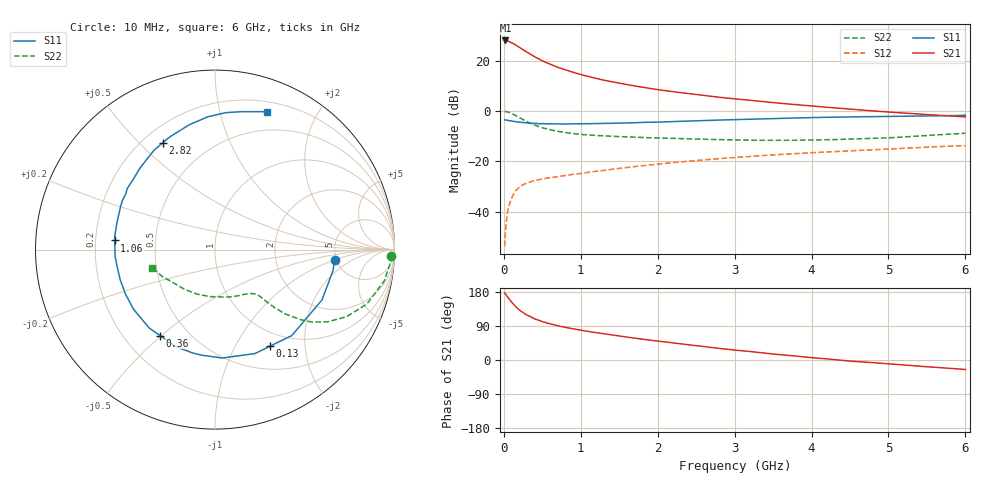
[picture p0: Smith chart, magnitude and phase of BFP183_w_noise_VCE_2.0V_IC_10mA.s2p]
! Infineon Technologies  Discrete & RF Semiconductors
! BFP183
! VCE = 2.0 V,  IC =  10 mA
! Common Emitter S-Parameters:  Jan 2016
# GHz  S  MA  R  50
!  f  S11  S21  S12  S22
! GHz  MAG  ANG  MAG  ANG  MAG  ANG  MAG  ANG
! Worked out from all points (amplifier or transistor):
!   210 points, 10 MHz to 6 GHz, reference 50 ohm
!   highest |S21| = 28.0 dB at 20 MHz (marker M1)
!   |S21| within 3 dB of that: start of sweep to 216.2 MHz
!   unconditionally stable (mu >= 1): 1.131 GHz to 5.72 GHz
!   at 185 MHz: K = 0.26, MSG = 28.1 dB, |S12| = -30.7 dB
!   at 1.52 GHz: K = 1.11, MAG = 14.8 dB, |S12| = -22.6 dB
!   at 6 GHz: K = 0.95, MSG = 5.7 dB, |S12| = -13.7 dB
!   lowest NFmin = 1.30 dB at 450 MHz
!   S11 on the Smith chart (normalised r, x): 10 MHz: 4.81, -1.04; 130 MHz: 0.80, -1.39; 360 MHz: 0.35, -0.49; 1.06 GHz: 0.28, +0.04; 2.82 GHz: 0.28, +0.59; 6 GHz: 0.30, +1.40
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0.01  0.6691 -5.1  24.86 177.2  0.0021 81.6  0.9839 -2.0
0.02  0.6676 -10.3  25 174.6  0.0038 83.0  0.9805 -4.2
0.05  0.6588 -25.2  24.55 165.7  0.0104 81.0  0.9594 -10.4
0.065  0.6429 -31.9  23.83 162.0  0.0128 75.3  0.9388 -13.1
0.1  0.6422 -48.2  22.59 152.7  0.0188 68.0  0.8991 -19.7
0.13  0.6193 -60.5  21.28 146.1  0.023 63.3  0.8511 -24.0
0.15  0.6206 -69.0  20.57 141.3  0.0259 61.1  0.822 -27.1
0.2  0.6053 -86.2  18.4 132.1  0.0308 55.0  0.7448 -32.7
0.3  0.5836 -111.6  14.68 118.5  0.0376 47.2  0.6163 -39.3
0.36  0.5684 -122.6  12.96 113.0  0.0401 45.0  0.5622 -41.2
0.4  0.5702 -130.0  11.9 108.4  0.0418 43.7  0.5265 -42.6
0.5  0.5626 -143.9  9.858 101.2  0.0451 41.2  0.4659 -44.2
0.6  0.5567 -153.9  8.492 95.4  0.0477 41.1  0.425 -45.0
1.02  0.5591 177.0  5.177 77.9  0.0584 42.2  0.3425 -47.1
1.06  0.5608 174.8  4.998 76.6  0.0599 42.1  0.3386 -47.4
1.5  0.5775 156.0  3.555 63.0  0.0731 43.4  0.3109 -51.9
2.02  0.604 137.6  2.626 49.4  0.0893 42.6  0.2927 -60.1
2.82  0.663 116.1  1.858 30.1  0.1145 39.0  0.2713 -77.9
3.1  0.6811 109.8  1.68 24.4  0.1231 37.4  0.2643 -85.3
4.1  0.7449 91.5  1.222 4.6  0.1518 30.5  0.2679 -114.7
5.1  0.7844 78.4  0.931 -11.6  0.1791 24.1  0.2999 -143.0
6  0.8207 69.3  0.765 -25.0  0.2064 16.1  0.363 -163.8
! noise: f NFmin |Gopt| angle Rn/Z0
0.45  1.3  0.15  45  0.18
0.9  1.4  0.2  125  0.19
1.8  2.1  0.34  -170  0.14
